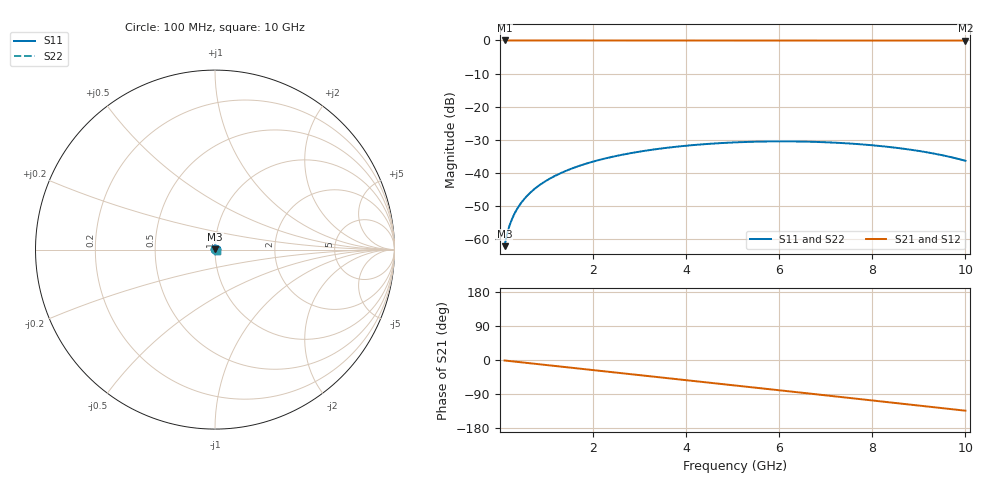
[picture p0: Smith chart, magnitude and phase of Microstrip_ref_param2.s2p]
! Sonnet Data File
! From: em Version : 18.58
! From Project: Microstrip_ref
! Data is De-embedded
! Data File Written: 05/20/2025 14:19:08
!< HDATE 12/30/2024 21:26:45
!< MDATE 12/30/2024 21:26:45
!< PARAMS
!< w = 220.0
!< END PARAMS
# GHZ S MA R 50.00000
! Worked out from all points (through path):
!   397 points, 100 MHz to 10 GHz, reference 50 ohm
!   highest |S21| = 0.00 dB at 100 MHz (marker M1); lowest = 0.0 dB at 10 GHz (marker M2)
!   group delay of S21, straight-line fit = 37.1 ps
!   lowest |S11| = -62.2 dB at 100 MHz (marker M3), VSWR 1.00, Z = 50 + j0.0774 ohm
!   |S11| at or under -10 dB: start of sweep to end of sweep
!   |S22| runs from -62.2 to -30.5 dB; largest |S21 - S12| = 4.4e-13
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0.1  0.0007799 97.0  0.9999 -1.3  0.9999 -1.3  0.0007799 97.0
0.125  0.0009723 95.6  0.9999 -1.7  0.9999 -1.7  0.0009721 95.6
0.175  0.001358 93.8  0.9999 -2.3  0.9999 -2.3  0.001357 93.8
0.225  0.001743 92.5  0.9998 -3.0  0.9998 -3.0  0.001742 92.5
0.275  0.002128 91.4  0.9998 -3.6  0.9998 -3.6  0.002127 91.4
0.4  0.00309 89.1  0.9998 -5.3  0.9998 -5.3  0.003089 89.2
0.575  0.004431 86.4  0.9997 -7.6  0.9997 -7.6  0.00443 86.4
0.8  0.006141 83.2  0.9996 -10.6  0.9996 -10.6  0.006141 83.2
1.05  0.008017 79.7  0.9995 -13.9  0.9995 -13.9  0.008017 79.7
1.375  0.0104 75.3  0.9993 -18.2  0.9993 -18.2  0.01041 75.3
1.75  0.01307 70.2  0.9991 -23.2  0.9991 -23.2  0.01307 70.2
2.1  0.01544 65.6  0.9989 -27.9  0.9989 -27.9  0.01544 65.6
2.5  0.018 60.2  0.9987 -33.2  0.9987 -33.2  0.018 60.2
3.4  0.02301 48.3  0.9982 -45.1  0.9982 -45.1  0.02302 48.3
4.25  0.02662 37.0  0.9977 -56.5  0.9977 -56.5  0.02662 37.0
5.05  0.02885 26.4  0.9973 -67.1  0.9973 -67.1  0.02884 26.4
5.875  0.02984 15.5  0.9969 -78.2  0.9969 -78.2  0.02983 15.5
6.7  0.02945 4.6  0.9965 -89.2  0.9965 -89.2  0.02945 4.6
7.525  0.0277 -6.3  0.9962 -100.3  0.9962 -100.3  0.0277 -6.3
8.35  0.02465 -17.1  0.9959 -111.4  0.9959 -111.4  0.02465 -17.1
9.25  0.01999 -28.7  0.9956 -123.6  0.9956 -123.6  0.01999 -28.7
10  0.01521 -38.0  0.9953 -133.8  0.9953 -133.8  0.01521 -38.0
